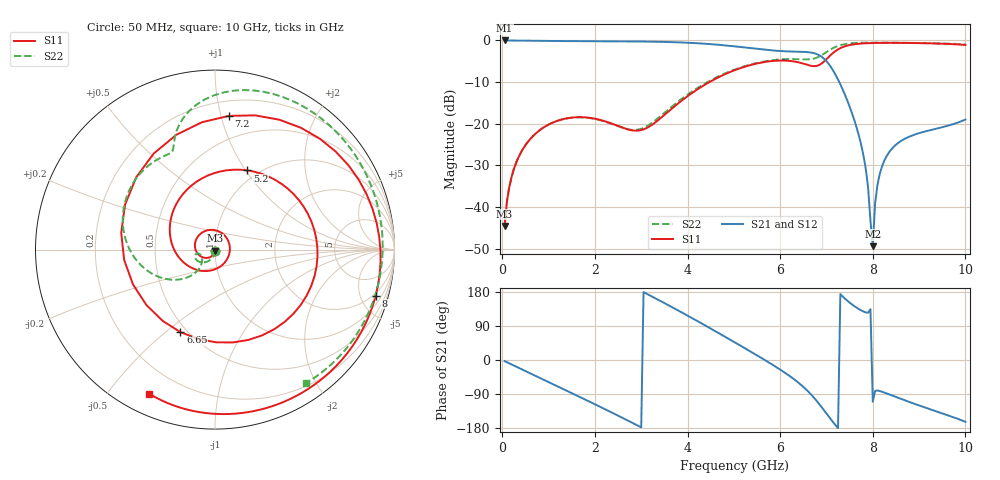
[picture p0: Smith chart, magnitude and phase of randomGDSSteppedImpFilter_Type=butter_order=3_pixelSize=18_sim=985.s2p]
! freq	dB(S11)	phase(S11)	dB(S12)	phase(S12)
!  dB(S21)	phase(S21)	dB(S22)	phase(S22)
!S-par simulation data
#  GHz  S  DB  R 50
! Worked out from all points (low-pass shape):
!   200 points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, 50 MHz to 10 GHz, reference 50 ohm
!   highest |S21| = -0.01 dB at 50 MHz (marker M1); lowest = -49.4 dB at 8 GHz (marker M2)
!   |S21| within 3 dB of the highest: start of sweep to 6.709 GHz
!   lowest |S11| = -44.5 dB at 50 MHz (marker M3), VSWR 1.01, Z = 50 - j0.593 ohm
!   |S11| at or under -10 dB: start of sweep to 4.472 GHz
!   |S22| runs from -44.5 to -0.5 dB; largest |S21 - S12| = 0
!   S11 on the Smith chart (normalised r, x): 50 MHz: 1.00, -0.01; 5.2 GHz: 0.89, +1.02; 6.65 GHz: 0.46, -0.56; 7.2 GHz: 0.31, +1.06; 8 GHz: 1.74, -6.70; 10 GHz: 0.09, -0.64
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0.05  -44.54 -89.7  -0.01 -3.0  -0.01 -3.0  -44.50 -88.3
0.2  -32.78 -103.9  -0.02 -11.8  -0.02 -11.8  -32.75 -97.8
0.5  -25.15 -127.2  -0.06 -29.2  -0.06 -29.2  -25.11 -111.7
1.75  -18.44 133.1  -0.18 -102.0  -0.18 -102.0  -18.49 -158.7
2.65  -21.15 31.1  -0.23 -156.0  -0.23 -156.0  -21.14 -162.7
3.4  -18.83 -96.1  -0.33 156.7  -0.33 156.7  -18.31 -131.2
4.25  -11.48 160.5  -0.70 100.2  -0.70 100.2  -11.17 -142.6
5.05  -7.01 81.8  -1.47 44.4  -1.47 44.4  -6.86 -175.1
5.2  -6.43 67.8  -1.65 33.8  -1.65 33.8  -6.30 177.8
6.05  -4.82 -14.9  -2.58 -29.3  -2.58 -29.3  -4.53 135.8
6.65  -6.05 -112.7  -2.88 -88.7  -2.88 -88.7  -4.51 113.9
6.7  -6.15 -126.3  -2.98 -95.3  -2.98 -95.3  -4.42 113.1
6.95  -5.03 153.4  -4.42 -133.2  -4.42 -133.2  -3.17 108.0
7.2  -2.51 84.1  -8.32 -172.6  -8.32 -172.6  -1.53 93.9
7.45  -1.24 39.0  -14.45 156.4  -14.45 156.4  -0.79 76.1
7.75  -0.75 4.5  -25.06 130.9  -25.06 130.9  -0.56 56.7
7.9  -0.65 -8.4  -35.42 124.9  -35.42 124.9  -0.53 47.8
8  -0.62 -15.9  -49.39 -110.1  -49.39 -110.1  -0.52 42.1
8.1  -0.59 -22.9  -34.74 -80.5  -34.74 -80.5  -0.52 36.6
8.35  -0.57 -38.1  -26.89 -90.6  -26.89 -90.6  -0.54 23.3
9.15  -0.67 -76.5  -21.80 -126.3  -21.80 -126.3  -0.65 -16.3
10  -1.08 -114.5  -18.99 -163.0  -18.99 -163.0  -0.91 -55.6
